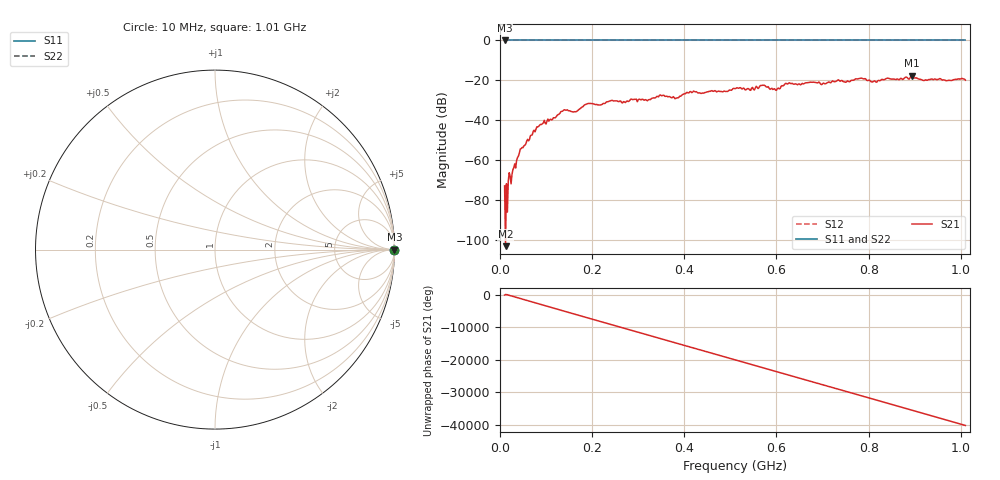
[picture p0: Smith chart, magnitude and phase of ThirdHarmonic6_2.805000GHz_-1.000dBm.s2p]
! 8/17/2025 7:20:07 AM
! C:\ANRITSUVNA\TEMP\TEMP.S2P
! CHANNEL.1
! TR.MEASUREMENT
! RAW.DATA
! RF.CORRECTION.OFF
! AVERAGING.OFF
! IF.BANDWIDTH: 5KHZ
! SWEEPTYPE:  FREQ.SWEEP(Linear)
! Reference Plane Port Info
! PORT:  PORT1  PORT2
! DISTANCE:  0  m  0  m
! TIME:  0  s  0  s
! PHASE.OFFSET:  0  deg.  0  deg.
! LOSS:  0  dB  0  dB
! REF.LOSS:  0  dB  0  dB
! REF.FREQ:  0  Hz  0  Hz
! Power Info
! POWER:  -20  dBm  -20  dBm
! EFF.POWER:  -20  dBm  -20  dBm
! SOURCE.ATTEN:  0  dB  0  dB
! TEST.ATTEN:  0  dB  0  dB
# GHZ S RI R 50.0
! FREQ.GHZ  S11RE  S11IM  S21RE  S21IM  S12RE  S12IM  S22RE  S22IM
!; PortSelection: Port_12
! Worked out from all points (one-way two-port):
!   501 points, 10 MHz to 1.01 GHz, reference 50 ohm
!   highest |S21| = -17.70 dB at 894 MHz (marker M1); lowest = -103.1 dB at 12 MHz (marker M2)
!   lowest |S11| = 0.0 dB at 10 MHz (marker M3)
!   |S11| at or under -10 dB: nowhere
!   |S22| runs from 0.0 to 0.0 dB; largest |S21 - S12| = 1.1
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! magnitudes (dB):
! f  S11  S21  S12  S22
! 10 MHz  0.0  -72.9  0.0  0.0
! 12 MHz  0.0  -103.1  0.0  0.0
! 44 MHz  0.0  -54.4  0.0  0.0
! 76 MHz  0.0  -45.8  0.0  0.0
! 136 MHz  0.0  -35.4  0.0  0.0
! 162 MHz  0.0  -35.7  0.0  0.0
! 178 MHz  0.0  -33.4  0.0  0.0
! 192 MHz  0.0  -31.5  0.0  0.0
! 322 MHz  0.0  -29.8  0.0  0.0
! 344 MHz  0.0  -28.3  0.0  0.0
! 384 MHz  0.0  -28.7  0.0  0.0
! 410 MHz  0.0  -26.3  0.0  0.0
! 510 MHz  0.0  -24.2  0.0  0.0
! 548 MHz  0.0  -23.5  0.0  0.0
! 570 MHz  0.0  -22.4  0.0  0.0
! 596 MHz  0.0  -24.2  0.0  0.0
! 624 MHz  0.0  -21.9  0.0  0.0
! 678 MHz  0.0  -21.0  0.0  0.0
! 844 MHz  0.0  -19.0  0.0  0.0
! 894 MHz  0.0  -17.7  0.0  0.0
! 922 MHz  0.0  -19.9  0.0  0.0
! 1.01 GHz  0.0  -19.9  0.0  0.0
